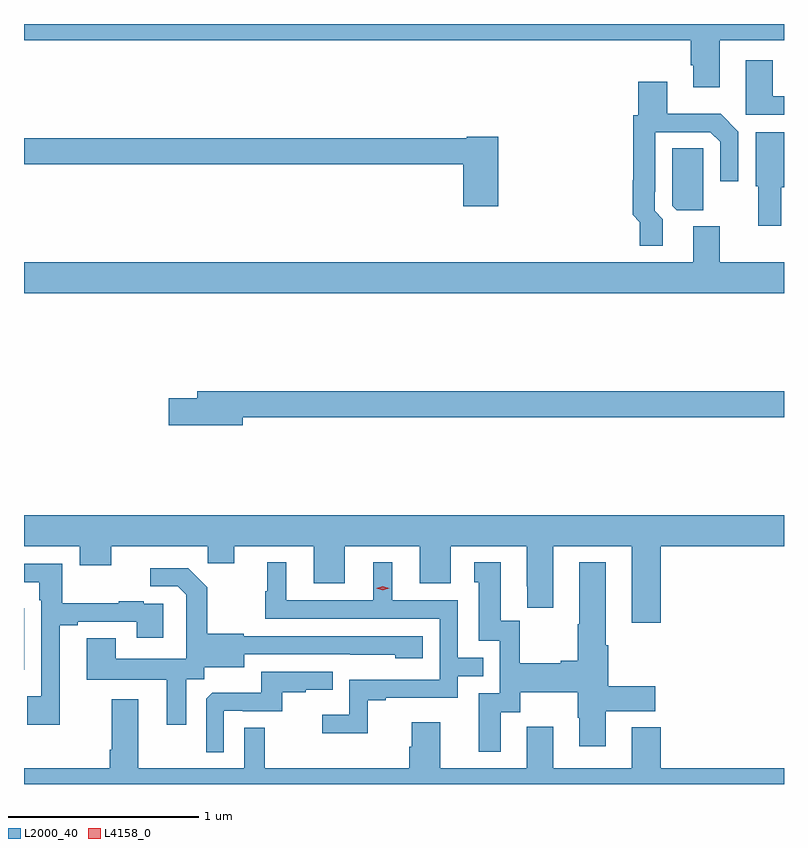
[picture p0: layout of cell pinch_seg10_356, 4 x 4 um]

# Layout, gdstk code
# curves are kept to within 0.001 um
import gdstk
lib = gdstk.Library(unit=1e-6, precision=1e-09)
def R(c, l, rs):  # rectangles x0, y0, x1, y1
    for r in rs: c.add(gdstk.rectangle(r[:2], r[2:], *l))
def P(c, l, *ps):  # polygons
    for p in ps: c.add(gdstk.Polygon(p, *l))
L2000_40 = (2000, 40)
L4158_0 = (4158, 0)

pinch_seg10_356 = lib.new_cell('pinch_seg10_356')
R(pinch_seg10_356, L2000_40, [(574.607,1286.346,574.608,1286.671)])
P(pinch_seg10_356, L2000_40, [(578.269,1289.66),(578.607,1289.66),(578.607,1289.745),(574.607,1289.745),(574.607,1289.66),(578.117,1289.66),(578.117,1289.527),(578.129,1289.527),(578.129,1289.412),(578.269,1289.412)],
  [(578.607,1289.364),(578.548,1289.364),(578.548,1289.554),(578.405,1289.554),(578.405,1289.268),(578.607,1289.268)],
  [(577.969,1288.718),(577.926,1288.761),(577.926,1288.861),(577.929,1288.861),(577.929,1289.175),(578.22,1289.175),(578.271,1289.124),(578.271,1288.917),(578.367,1288.917),(578.367,1289.178),(578.273,1289.272),(577.993,1289.272),(577.993,1289.44),(577.841,1289.44),(577.841,1289.265),(577.813,1289.265),(577.813,1288.922),(577.811,1288.922),(577.811,1288.74),(577.849,1288.701),(577.849,1288.578),(577.969,1288.578)],
  [(578.593,1288.886),(578.607,1288.886),(578.607,1289.176),(578.459,1289.176),(578.459,1288.89),(578.471,1288.89),(578.471,1288.683),(578.593,1288.683)],
  [(577.103,1289.152),(576.936,1289.152),(576.936,1289.144),(574.607,1289.144),(574.607,1289.008),(576.92,1289.008),(576.92,1288.785),(577.103,1288.785)],
  [(578.182,1288.979),(578.181,1288.979),(578.181,1289.09),(578.019,1289.09),(578.019,1288.788),(578.043,1288.765),(578.182,1288.765)],
  [(578.607,1288.492),(578.269,1288.492),(578.269,1288.68),(578.129,1288.68),(578.129,1288.492),(574.607,1288.492),(574.607,1288.328),(578.607,1288.328)],
  [(575.758,1287.676),(578.607,1287.676),(578.607,1287.812),(575.519,1287.812),(575.519,1287.776),(575.37,1287.776),(575.37,1287.634),(575.758,1287.634)],
  [(577.958,1286.996),(578.607,1286.996),(578.607,1287.16),(574.607,1287.16),(574.607,1286.996),(574.901,1286.996),(574.901,1286.897),(575.065,1286.897),(575.065,1286.996),(575.575,1286.996),(575.575,1286.906),(575.713,1286.906),(575.713,1286.996),(576.131,1286.996),(576.131,1286.802),(576.295,1286.802),(576.295,1286.996),(576.689,1286.996),(576.689,1286.802),(576.853,1286.802),(576.853,1286.996),(577.253,1286.996),(577.253,1286.785),(577.256,1286.785),(577.256,1286.673),(577.393,1286.673),(577.393,1286.996),(577.805,1286.996),(577.805,1286.595),(577.958,1286.595)],
  [(576.417,1286.187),(576.511,1286.187),(576.511,1286.199),(576.891,1286.199),(576.891,1286.313),(577.025,1286.313),(577.025,1286.409),(576.891,1286.409),(576.891,1286.712),(576.544,1286.712),(576.544,1286.911),(576.446,1286.911),(576.446,1286.712),(575.986,1286.712),(575.986,1286.911),(575.888,1286.911),(575.888,1286.76),(575.877,1286.76),(575.877,1286.616),(576.795,1286.616),(576.795,1286.295),(576.318,1286.295),(576.318,1286.11),(576.177,1286.11),(576.177,1286.012),(576.417,1286.012)],
  [(577.117,1286.122),(577.219,1286.122),(577.219,1286.228),(577.522,1286.228),(577.522,1286.094),(577.529,1286.094),(577.529,1285.944),(577.669,1285.944),(577.669,1286.129),(577.93,1286.129),(577.93,1286.259),(577.682,1286.259),(577.682,1286.476),(577.669,1286.476),(577.669,1286.911),(577.529,1286.911),(577.529,1286.585),(577.522,1286.585),(577.522,1286.393),(577.433,1286.393),(577.433,1286.38),(577.215,1286.38),(577.215,1286.603),(577.117,1286.603),(577.117,1286.911),(576.977,1286.911),(576.977,1286.808),(577.001,1286.808),(577.001,1286.499),(577.11,1286.499),(577.11,1286.223),(577.001,1286.223),(577.001,1285.914),(577.117,1285.914)],
  [(574.795,1286.58),(574.891,1286.58),(574.891,1286.598),(575.201,1286.598),(575.201,1286.514),(575.341,1286.514),(575.341,1286.694),(575.237,1286.694),(575.237,1286.707),(575.105,1286.707),(575.105,1286.696),(574.807,1286.696),(574.807,1286.904),(574.607,1286.904),(574.607,1286.807),(574.686,1286.807),(574.686,1286.711),(574.698,1286.711),(574.698,1286.206),(574.623,1286.206),(574.623,1286.058),(574.795,1286.058)],
  [(575.461,1286.296),(575.556,1286.296),(575.556,1286.36),(575.767,1286.36),(575.767,1286.427),(576.561,1286.426),(576.561,1286.408),(576.706,1286.408),(576.706,1286.523),(575.763,1286.523),(575.763,1286.536),(575.571,1286.536),(575.571,1286.781),(575.471,1286.881),(575.271,1286.881),(575.271,1286.787),(575.415,1286.787),(575.462,1286.74),(575.462,1286.645),(575.46,1286.645),(575.46,1286.404),(575.089,1286.404),(575.089,1286.513),(574.937,1286.513),(574.937,1286.294),(575.357,1286.294),(575.357,1286.058),(575.461,1286.058)],
  [(575.658,1286.13),(575.758,1286.13),(575.758,1286.127),(575.966,1286.127),(575.966,1286.229),(576.089,1286.229),(576.089,1286.24),(576.233,1286.24),(576.233,1286.337),(575.856,1286.337),(575.856,1286.225),(575.597,1286.225),(575.565,1286.193),(575.565,1285.913),(575.658,1285.913)],
  [(578.607,1285.828),(577.958,1285.828),(577.958,1286.044),(577.805,1286.044),(577.805,1285.828),(577.393,1285.828),(577.393,1286.047),(577.253,1286.047),(577.253,1285.828),(576.799,1285.828),(576.799,1286.071),(576.647,1286.071),(576.647,1285.941),(576.635,1285.941),(576.635,1285.828),(575.875,1285.828),(575.875,1286.042),(575.766,1286.042),(575.766,1285.828),(575.209,1285.828),(575.209,1286.191),(575.069,1286.191),(575.069,1285.924),(575.057,1285.924),(575.057,1285.828),(574.607,1285.828),(574.607,1285.745),(578.607,1285.745)])
P(pinch_seg10_356, L4158_0, [(576.495,1286.765),(576.46,1286.775),(576.46,1286.775),(576.46,1286.775),(576.495,1286.785),(576.53,1286.775),(576.53,1286.775),(576.53,1286.775)])

lib.write_gds('pinch_seg10_356.gds')
